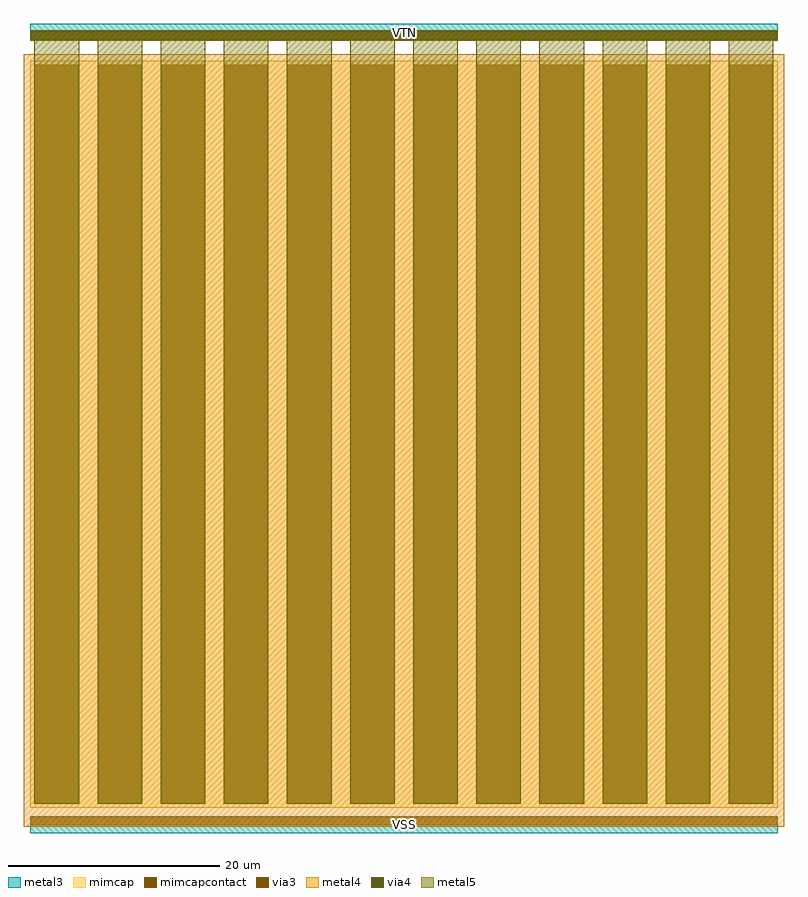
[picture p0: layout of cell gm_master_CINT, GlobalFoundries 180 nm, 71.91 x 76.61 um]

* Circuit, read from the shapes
.subckt gm_master_CINT VTN VSS
XC1 VTN VSS cap_mim_2f0fF c_width=70.71u c_length=70.71u
.ends

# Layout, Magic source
magic
tech gf180mcuD
magscale 1 10
<< metal3 >>
rect 0 -340 14142 -160
rect 0 14522 14142 14722
rect 0 14522 14142 14842
rect 0 14522 14142 14842
rect 0 -480 14142 -160
rect 0 -480 14142 -160
<< metal4 >>
rect -120 -360 14262 14262
rect 0 -340 14142 -160
rect 0 14522 14142 14722
rect 0 14522 14142 14722
<< mimcap >>
rect 0 0 14142 14142
<< metal5 >>
rect 78 78 922 14622
rect 1273 78 2117 14622
rect 2467 78 3311 14622
rect 3662 78 4506 14622
rect 4856 78 5700 14622
rect 6051 78 6895 14622
rect 7246 78 8090 14622
rect 8440 78 9284 14622
rect 9635 78 10479 14622
rect 10829 78 11673 14622
rect 12024 78 12868 14622
rect 13219 78 14063 14622
rect 0 14522 14142 14722
rect 0 14522 14142 14722
<< via3 >>
rect 10 -330 14132 -170
rect 10 14532 14132 14712
<< via4 >>
rect 10 14532 14132 14712
<< mimcapcontact >>
rect 78 78 922 14064
rect 1273 78 2117 14064
rect 2467 78 3311 14064
rect 3662 78 4506 14064
rect 4856 78 5700 14064
rect 6051 78 6895 14064
rect 7246 78 8090 14064
rect 8440 78 9284 14064
rect 9635 78 10479 14064
rect 10829 78 11673 14064
rect 12024 78 12868 14064
rect 13219 78 14063 14064
<< labels >>
flabel metal3 s 0 14522 14142 14842 0 FreeSans 80 0 0 0 VTN
port 1 nsew signal bidirectional
flabel metal3 s 0 -480 14142 -160 0 FreeSans 80 0 0 0 VSS
port 2 nsew signal bidirectional
<< end >>
